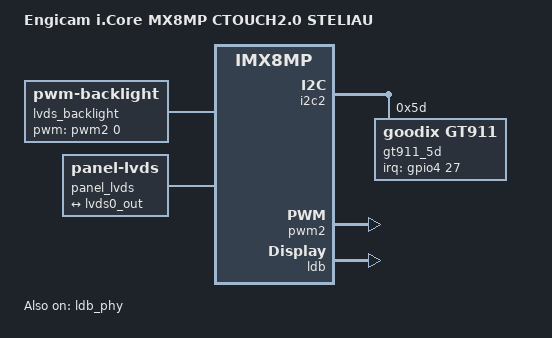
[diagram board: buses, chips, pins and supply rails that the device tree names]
#include "imx8mp-icore-fasteth-ctouch2.dts"

/ {
	model = "Engicam i.Core MX8MP CTOUCH2.0 STELIAU";

	lvds_backlight: lvds_backlight {
		compatible = "pwm-backlight";
		pwms = <&pwm2 0 100000>;
		status = "okay";

		brightness-levels = < 0  1  2  3  4  5  6  7  8  9
				     10 11 12 13 14 15 16 17 18 19
				     20 21 22 23 24 25 26 27 28 29
				     30 31 32 33 34 35 36 37 38 39
				     40 41 42 43 44 45 46 47 48 49
				     50 51 52 53 54 55 56 57 58 59
				     60 61 62 63 64 65 66 67 68 69
				     70 71 72 73 74 75 76 77 78 79
				     80 81 82 83 84 85 86 87 88 89
				     90 91 92 93 94 95 96 97 98 99
				    100>;
		default-brightness-level = <100>;
	};

	panel_lvds: panel-lvds {
		compatible = "panel-lvds";

		width-mm = <154>;
		height-mm = <86>;
		data-mapping = "jeida-24";
		status = "okay";

		panel-timing {
		    /* 1024x600 @65Hz */
		    clock-frequency = <65000000>;
		    hactive = <1024>;
		    vactive = <600>;
		    hback-porch = <140>;
		    hfront-porch = <160>;
		    hsync-len = <20>;
		    vback-porch = <20>;
		    vfront-porch = <12>;
		    vsync-len = <3>;
		};

		port {
			panel_in_lvds: endpoint {
				remote-endpoint = <&lvds0_out>;
			};
		};
	};
};

&i2c2 {
	gt911_5d: gt911@5d {
		compatible = "goodix,gt911";
		reg = <0x5d>;
		pinctrl-names = "default";
		pinctrl-0 = <&gt911_pins>;
		interrupt-parent = <&gpio4>;
		interrupts = <27 IRQ_TYPE_EDGE_FALLING>;
		touchscreen-inverted-x = <1>;
		touchscreen-inverted-y = <1>;
	};
};

&iomuxc {
	gt911_pins: gt911-pins-grp {
		fsl,pins = <
			MX8MP_IOMUXC_SAI2_MCLK__GPIO4_IO27      0x41    /* INT */
			MX8MP_IOMUXC_GPIO1_IO13__GPIO1_IO13     0x41    /* RST */
		>;
	};
};

&pwm2 {
	pinctrl-names = "default";
	pinctrl-0 = <&pinctrl_pwm2>;
	status = "okay";
};

&ldb {
	status = "okay";
	lvds-channel@0 {
		fsl,data-mapping = "jeida";
		fsl,data-width = <24>;
		status = "okay";

		port@1 {
			reg = <1>;

			lvds0_out: endpoint {
				remote-endpoint = <&panel_in_lvds>;
			};
		};
	};
};

&ldb_phy {
	status = "okay";
};
